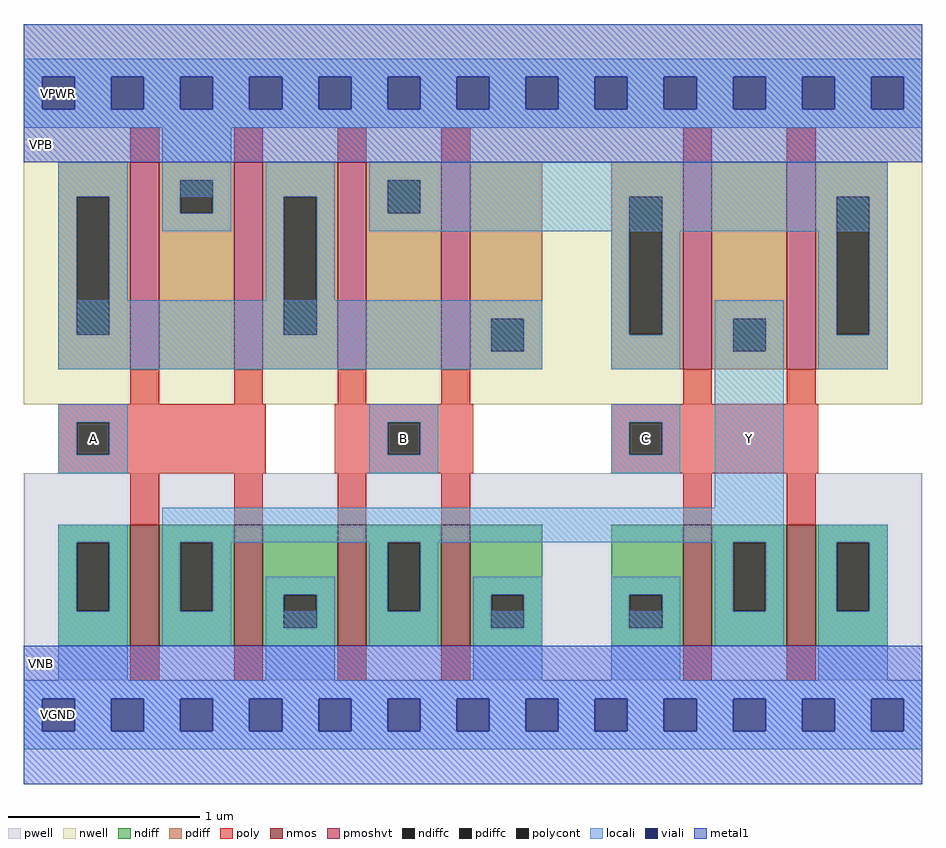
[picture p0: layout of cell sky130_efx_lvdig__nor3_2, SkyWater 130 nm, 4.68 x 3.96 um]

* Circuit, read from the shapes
.subckt sky130_efx_lvdig__nor3_2 A B C Y VGND VPWR VPB VNB
XM1 Y A VGND VNB sky130_fd_pr__nfet_01v8 w=0.63 l=0.15 m=2
XM2 Y B VGND VNB sky130_fd_pr__nfet_01v8 w=0.63 l=0.15 m=2
XM3 Y C VGND VNB sky130_fd_pr__nfet_01v8 w=0.63 l=0.15 m=2
XM4 VPWR A n1 VPB sky130_fd_pr__pfet_01v8_hvt w=1.08 l=0.15 m=2
XM5 n2 B n1 VPB sky130_fd_pr__pfet_01v8_hvt w=1.08 l=0.15 m=2
XM6 Y C n2 VPB sky130_fd_pr__pfet_01v8_hvt w=1.08 l=0.15 m=2
.ends

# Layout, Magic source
magic
tech sky130A
magscale 1 2
<< nwell >>
rect 0 288 936 684
<< pwell >>
rect 0 0 936 216
<< poly >>
rect 36 269 252 288
rect 36 235 55 269
rect 89 235 252 269
rect 36 216 252 235
rect 324 269 468 288
rect 324 235 379 269
rect 413 235 468 269
rect 324 216 468 235
rect 612 269 828 288
rect 612 235 631 269
rect 665 235 828 269
rect 612 216 828 235
<< polycont >>
rect 55 235 89 269
rect 379 235 413 269
rect 631 235 665 269
<< locali >>
rect 0 629 936 648
rect 0 595 19 629
rect 53 595 91 629
rect 125 595 163 629
rect 197 595 235 629
rect 269 595 307 629
rect 341 595 379 629
rect 413 595 451 629
rect 485 595 523 629
rect 557 595 595 629
rect 629 595 667 629
rect 701 595 739 629
rect 773 595 811 629
rect 845 595 883 629
rect 917 595 936 629
rect 0 576 936 595
rect 144 504 216 576
rect 360 468 900 540
rect 36 324 540 396
rect 36 269 108 288
rect 36 235 55 269
rect 89 235 108 269
rect 36 216 108 235
rect 360 269 432 288
rect 360 235 379 269
rect 413 235 432 269
rect 360 216 432 235
rect 612 269 684 288
rect 612 235 631 269
rect 665 235 684 269
rect 612 216 684 235
rect 720 180 792 396
rect 144 144 792 180
rect 36 0 108 72
rect 252 0 324 72
rect 468 0 540 72
rect 612 0 684 72
rect 828 0 900 72
rect 0 -19 936 0
rect 0 -53 19 -19
rect 53 -53 91 -19
rect 125 -53 163 -19
rect 197 -53 235 -19
rect 269 -53 307 -19
rect 341 -53 379 -19
rect 413 -53 451 -19
rect 485 -53 523 -19
rect 557 -53 595 -19
rect 629 -53 667 -19
rect 701 -53 739 -19
rect 773 -53 811 -19
rect 845 -53 883 -19
rect 917 -53 936 -19
rect 0 -72 936 -53
<< viali >>
rect 19 595 53 629
rect 91 595 125 629
rect 163 595 197 629
rect 235 595 269 629
rect 307 595 341 629
rect 379 595 413 629
rect 451 595 485 629
rect 523 595 557 629
rect 595 595 629 629
rect 667 595 701 629
rect 739 595 773 629
rect 811 595 845 629
rect 883 595 917 629
rect 19 -53 53 -19
rect 91 -53 125 -19
rect 163 -53 197 -19
rect 235 -53 269 -19
rect 307 -53 341 -19
rect 379 -53 413 -19
rect 451 -53 485 -19
rect 523 -53 557 -19
rect 595 -53 629 -19
rect 667 -53 701 -19
rect 739 -53 773 -19
rect 811 -53 845 -19
rect 883 -53 917 -19
<< metal1 >>
rect 0 629 936 684
rect 0 595 19 629
rect 53 595 91 629
rect 125 595 163 629
rect 197 595 235 629
rect 269 595 307 629
rect 341 595 379 629
rect 413 595 451 629
rect 485 595 523 629
rect 557 595 595 629
rect 629 595 667 629
rect 701 595 739 629
rect 773 595 811 629
rect 845 595 883 629
rect 917 595 936 629
rect 0 540 936 595
rect 0 -19 936 36
rect 0 -53 19 -19
rect 53 -53 91 -19
rect 125 -53 163 -19
rect 197 -53 235 -19
rect 269 -53 307 -19
rect 341 -53 379 -19
rect 413 -53 451 -19
rect 485 -53 523 -19
rect 557 -53 595 -19
rect 629 -53 667 -19
rect 701 -53 739 -19
rect 773 -53 811 -19
rect 845 -53 883 -19
rect 917 -53 936 -19
rect 0 -108 936 -53
use nmos_n3f5_f2_l150_bff  nmos_n3f5_f2_l150_bff_0
transform 1 0 648 0 1 36
box -72 -36 288 180
use nmos_n3f5_f4_l150_ffbfb  nmos_n3f5_f4_l150_ffbfb_0
transform 1 0 72 0 1 36
box -72 -36 504 180
use pmos_n6_f2_l150_hvt_fbf  pmos_n6_f2_l150_hvt_fbf_0
transform 1 0 648 0 1 324
box -72 -36 288 252
use pmos_n6_f4_l150_hvt_ftftb  pmos_n6_f4_l150_hvt_ftftb_0
transform 1 0 72 0 1 324
box -72 -36 504 252
<< labels >>
flabel locali 36 216 108 288 0 FreeSans 288 0 0 0 A
port 1 nsew signal input
flabel locali 360 216 432 288 0 FreeSans 288 0 0 0 B
port 2 nsew signal input
flabel locali 612 216 684 288 0 FreeSans 288 0 0 0 C
port 3 nsew signal input
flabel locali 720 216 792 288 0 FreeSans 288 0 0 0 Y
port 4 nsew signal output
flabel metal1 0 -72 72 0 0 FreeSans 288 0 0 0 VGND
port 5 nsew ground bidirectional
flabel metal1 0 576 72 648 0 FreeSans 288 0 0 0 VPWR
port 6 nsew power bidirectional
flabel nwell 0 540 36 576 0 FreeSans 288 0 0 0 VPB
port 7 nsew power bidirectional
flabel pwell 0 0 36 36 0 FreeSans 288 0 0 0 VNB
port 8 nsew ground bidirectional
<< properties >>
string FIXED_BBOX 0 -36 936 612
<< end >>

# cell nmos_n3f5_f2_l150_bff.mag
magic
tech sky130A
magscale 1 2
<< pwell >>
rect -72 -36 288 180
<< nmos >>
rect 39 0 69 126
rect 147 0 177 126
<< ndiff >>
rect -36 53 39 126
rect -36 19 -17 53
rect 17 19 39 53
rect -36 0 39 19
rect 69 108 147 126
rect 69 36 91 108
rect 125 36 147 108
rect 69 0 147 36
rect 177 108 252 126
rect 177 36 199 108
rect 233 36 252 108
rect 177 0 252 36
<< ndiffc >>
rect -17 19 17 53
rect 91 36 125 108
rect 199 36 233 108
<< poly >>
rect 39 126 69 180
rect 147 126 177 180
rect 39 -36 69 0
rect 147 -36 177 0
<< locali >>
rect 72 108 144 126
rect -36 53 36 72
rect -36 19 -17 53
rect 17 19 36 53
rect -36 0 36 19
rect 72 36 91 108
rect 125 36 144 108
rect 72 0 144 36
rect 180 108 252 126
rect 180 36 199 108
rect 233 36 252 108
rect 180 0 252 36
<< end >>

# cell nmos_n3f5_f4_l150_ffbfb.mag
magic
tech sky130A
magscale 1 2
<< pwell >>
rect -72 -36 504 180
<< nmos >>
rect 39 0 69 126
rect 147 0 177 126
rect 255 0 285 126
rect 363 0 393 126
<< ndiff >>
rect -36 108 39 126
rect -36 36 -17 108
rect 17 36 39 108
rect -36 0 39 36
rect 69 108 147 126
rect 69 36 91 108
rect 125 36 147 108
rect 69 0 147 36
rect 177 53 255 126
rect 177 19 199 53
rect 233 19 255 53
rect 177 0 255 19
rect 285 108 363 126
rect 285 36 307 108
rect 341 36 363 108
rect 285 0 363 36
rect 393 53 468 126
rect 393 19 415 53
rect 449 19 468 53
rect 393 0 468 19
<< ndiffc >>
rect -17 36 17 108
rect 91 36 125 108
rect 199 19 233 53
rect 307 36 341 108
rect 415 19 449 53
<< poly >>
rect 39 126 69 180
rect 147 126 177 180
rect 255 126 285 180
rect 363 126 393 180
rect 39 -36 69 0
rect 147 -36 177 0
rect 255 -36 285 0
rect 363 -36 393 0
<< locali >>
rect -36 108 36 126
rect -36 36 -17 108
rect 17 36 36 108
rect -36 0 36 36
rect 72 108 144 126
rect 72 36 91 108
rect 125 36 144 108
rect 288 108 360 126
rect 72 0 144 36
rect 180 53 252 72
rect 180 19 199 53
rect 233 19 252 53
rect 180 0 252 19
rect 288 36 307 108
rect 341 36 360 108
rect 288 0 360 36
rect 396 53 468 72
rect 396 19 415 53
rect 449 19 468 53
rect 396 0 468 19
<< end >>

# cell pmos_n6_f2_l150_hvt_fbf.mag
magic
tech sky130A
magscale 1 2
<< nwell >>
rect -72 -36 288 252
<< pmoshvt >>
rect 39 0 69 216
rect 147 0 177 216
<< pdiff >>
rect -36 180 39 216
rect -36 36 -17 180
rect 17 36 39 180
rect -36 0 39 36
rect 69 53 147 216
rect 69 19 91 53
rect 125 19 147 53
rect 69 0 147 19
rect 177 180 252 216
rect 177 36 199 180
rect 233 36 252 180
rect 177 0 252 36
<< pdiffc >>
rect -17 36 17 180
rect 91 19 125 53
rect 199 36 233 180
<< poly >>
rect 39 216 69 252
rect 147 216 177 252
rect 39 -36 69 0
rect 147 -36 177 0
<< locali >>
rect -36 180 36 216
rect -36 36 -17 180
rect 17 36 36 180
rect 180 180 252 216
rect -36 0 36 36
rect 72 53 144 72
rect 72 19 91 53
rect 125 19 144 53
rect 72 0 144 19
rect 180 36 199 180
rect 233 36 252 180
rect 180 0 252 36
<< end >>

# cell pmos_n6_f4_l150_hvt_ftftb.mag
magic
tech sky130A
magscale 1 2
<< nwell >>
rect -72 -36 504 252
<< pmoshvt >>
rect 39 0 69 216
rect 147 0 177 216
rect 255 0 285 216
rect 363 0 393 216
<< pdiff >>
rect -36 180 39 216
rect -36 36 -17 180
rect 17 36 39 180
rect -36 0 39 36
rect 69 197 147 216
rect 69 163 91 197
rect 125 163 147 197
rect 69 0 147 163
rect 177 180 255 216
rect 177 36 199 180
rect 233 36 255 180
rect 177 0 255 36
rect 285 197 363 216
rect 285 163 307 197
rect 341 163 363 197
rect 285 0 363 163
rect 393 53 468 216
rect 393 19 415 53
rect 449 19 468 53
rect 393 0 468 19
<< pdiffc >>
rect -17 36 17 180
rect 91 163 125 197
rect 199 36 233 180
rect 307 163 341 197
rect 415 19 449 53
<< poly >>
rect 39 216 69 252
rect 147 216 177 252
rect 255 216 285 252
rect 363 216 393 252
rect 39 -36 69 0
rect 147 -36 177 0
rect 255 -36 285 0
rect 363 -36 393 0
<< locali >>
rect -36 180 36 216
rect -36 36 -17 180
rect 17 36 36 180
rect 72 197 144 216
rect 72 163 91 197
rect 125 163 144 197
rect 72 144 144 163
rect 180 180 252 216
rect -36 0 36 36
rect 180 36 199 180
rect 233 36 252 180
rect 288 197 360 216
rect 288 163 307 197
rect 341 163 360 197
rect 288 144 360 163
rect 180 0 252 36
rect 396 53 468 72
rect 396 19 415 53
rect 449 19 468 53
rect 396 0 468 19
<< end >>
